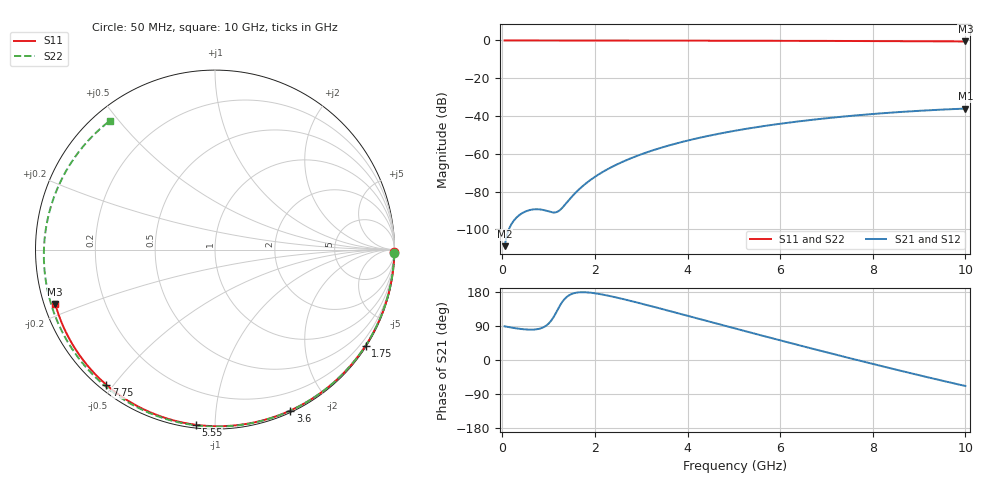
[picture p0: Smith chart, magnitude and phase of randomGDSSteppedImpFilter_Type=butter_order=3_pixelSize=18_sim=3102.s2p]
! freq	dB(S11)	phase(S11)	dB(S12)	phase(S12)
!  dB(S21)	phase(S21)	dB(S22)	phase(S22)
!S-par simulation data
#  GHz  S  DB  R 50
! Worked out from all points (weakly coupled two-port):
!   200 points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, 50 MHz to 10 GHz, reference 50 ohm
!   highest |S21| = -36.07 dB at 10 GHz (marker M1); lowest = -108.9 dB at 50 MHz (marker M2)
!   lowest |S11| = -0.5 dB at 10 GHz (marker M3), VSWR 32.52, Z = 1.58 - j8.27 ohm
!   |S11| at or under -10 dB: nowhere
!   |S22| runs from -0.7 to 0.0 dB; largest |S21 - S12| = 0
!   S11 on the Smith chart (normalised r, x): 50 MHz: open; 1.75 GHz: 0.03, -3.43; 3.6 GHz: 0.02, -1.57; 5.55 GHz: 0.02, -0.90; 7.75 GHz: 0.02, -0.48; 10 GHz: 0.03, -0.17
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0.05  -0.00 -0.9  -108.92 88.8  -108.92 88.8  -0.01 -1.2
0.45  -0.01 -8.5  -91.16 81.2  -91.16 81.2  -0.02 -11.2
0.8  -0.02 -15.0  -89.43 82.4  -89.43 82.4  -0.03 -19.9
1.6  -0.04 -29.8  -80.19 177.7  -80.19 177.7  -0.05 -39.4
1.75  -0.04 -32.5  -76.81 178.9  -76.81 178.9  -0.05 -43.0
2.05  -0.05 -37.9  -71.41 175.2  -71.41 175.2  -0.06 -50.1
2.45  -0.06 -45.1  -65.94 165.4  -65.94 165.4  -0.08 -59.4
2.9  -0.07 -53.0  -61.20 152.0  -61.20 152.0  -0.09 -69.8
3.4  -0.08 -61.6  -57.02 136.2  -57.02 136.2  -0.11 -81.0
3.6  -0.09 -64.9  -55.58 129.7  -55.58 129.7  -0.11 -85.4
4.3  -0.11 -76.5  -51.31 106.9  -51.31 106.9  -0.14 -100.6
5.05  -0.14 -88.5  -47.69 82.4  -47.69 82.4  -0.18 -116.5
5.55  -0.16 -96.3  -45.69 66.3  -45.69 66.3  -0.21 -127.0
6.15  -0.19 -105.4  -43.62 47.1  -43.62 47.1  -0.25 -139.6
6.7  -0.22 -113.6  -41.99 29.7  -41.99 29.7  -0.29 -151.2
7.25  -0.26 -121.6  -40.57 12.6  -40.57 12.6  -0.34 -163.0
7.75  -0.30 -128.8  -39.45 -2.8  -39.45 -2.8  -0.39 -174.1
8.35  -0.35 -137.4  -38.29 -20.9  -38.29 -20.9  -0.45 172.1
8.8  -0.40 -143.9  -37.55 -34.3  -37.55 -34.3  -0.51 161.2
9.2  -0.44 -149.6  -36.98 -46.0  -36.98 -46.0  -0.56 151.1
9.6  -0.48 -155.4  -36.49 -57.4  -36.49 -57.4  -0.61 140.5
10  -0.53 -161.2  -36.07 -68.6  -36.07 -68.6  -0.66 129.3
